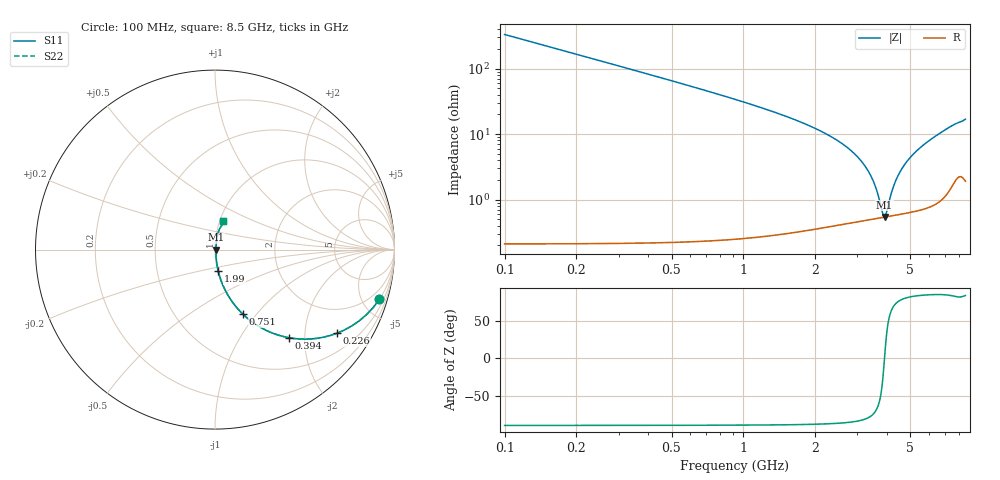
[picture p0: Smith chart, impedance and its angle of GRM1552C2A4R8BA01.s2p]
!Murata Part Number: GRM1552C2A4R8BA01
!These Parameters are Measured in Series Mode Connection
!Data Generated on Mar 30, 2021
!  o--ll--o
!Port1  Port2
!  o------o
!Operation Temp=25[degC], DC Bias Voltage=0[V]
!Freq. Start=100[MHz] Stop=9[GHz] 401[Steps]
# Hz S RI R 50
!Freq.(Hz) S11(Real) S11(Imag) S21(Real) S21(Imag) S12(Real) S12(Imag) S22(Real) S22(Imag)
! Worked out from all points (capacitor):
!   401 points, 100 MHz to 8.5 GHz, reference 50 ohm
!   read as one part in series: C = 4.8 pF near 142 MHz
!   lowest |Z| = 541 mohm at 3.901 GHz (marker M1)
!   series resonance near 3.898 GHz, so ESL is about 350 pH
!   S11 on the Smith chart (normalised r, x): 100 MHz: 1.00, -6.63; 226 MHz: 1.00, -2.92; 394 MHz: 1.00, -1.67; 751 MHz: 1.00, -0.85; 1.99 GHz: 1.01, -0.25; 8.5 GHz: 1.04, +0.34
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1e8  0.9164 -0.2765  0.0836 0.2765  0.0836 0.2765  0.9164 -0.2765
2.26e8  0.6811 -0.4653  0.3189 0.4653  0.3189 0.4653  0.6811 -0.4653
3.94e8  0.4097 -0.4905  0.5903 0.4905  0.5903 0.4905  0.4097 -0.4905
5.62e8  0.2509 -0.4316  0.7491 0.4316  0.7491 0.4316  0.2509 -0.4316
7.51e8  0.1542 -0.3584  0.8458 0.3584  0.8458 0.3584  0.1542 -0.3584
1.066e9  0.0783 -0.2642  0.9217 0.2642  0.9217 0.2642  0.0783 -0.2642
1.507e9  0.0364 -0.1794  0.9636 0.1794  0.9636 0.1794  0.0364 -0.1794
1.99e9  0.0182 -0.1202  0.9818 0.1202  0.9818 0.1202  0.0182 -0.1202
2.914e9  0.00694 -0.0495  0.9931 0.0495  0.9931 0.0495  0.00694 -0.0495
3.208e9  0.00585 -0.033  0.9942 0.033  0.9942 0.033  0.00585 -0.033
3.439e9  0.00542 -0.0211  0.9946 0.0211  0.9946 0.0211  0.00542 -0.0211
3.628e9  0.00529 -0.0121  0.9947 0.0121  0.9947 0.0121  0.00529 -0.0121
3.838e9  0.00533 -0.0026  0.9947 0.0026  0.9947 0.0026  0.00533 -0.0026
3.901e9  0.00538 0.000147  0.9946 -0.000147  0.9946 -0.000147  0.00538 0.000147
3.964e9  0.00544 0.00286  0.9946 -0.00286  0.9946 -0.00286  0.00544 0.00286
4.153e9  0.00571 0.0108  0.9943 -0.0108  0.9943 -0.0108  0.00571 0.0108
4.3e9  0.00599 0.0167  0.994 -0.0167  0.994 -0.0167  0.00599 0.0167
4.531e9  0.00657 0.0257  0.9934 -0.0257  0.9934 -0.0257  0.00657 0.0257
4.846e9  0.0076 0.0375  0.9924 -0.0375  0.9924 -0.0375  0.0076 0.0375
5.707e9  0.0118 0.0677  0.9882 -0.0677  0.9882 -0.0677  0.0118 0.0677
7.114e9  0.0257 0.1157  0.9743 -0.1157  0.9743 -0.1157  0.0257 0.1157
8.5e9  0.0446 0.1572  0.9554 -0.1572  0.9554 -0.1572  0.0446 0.1572
